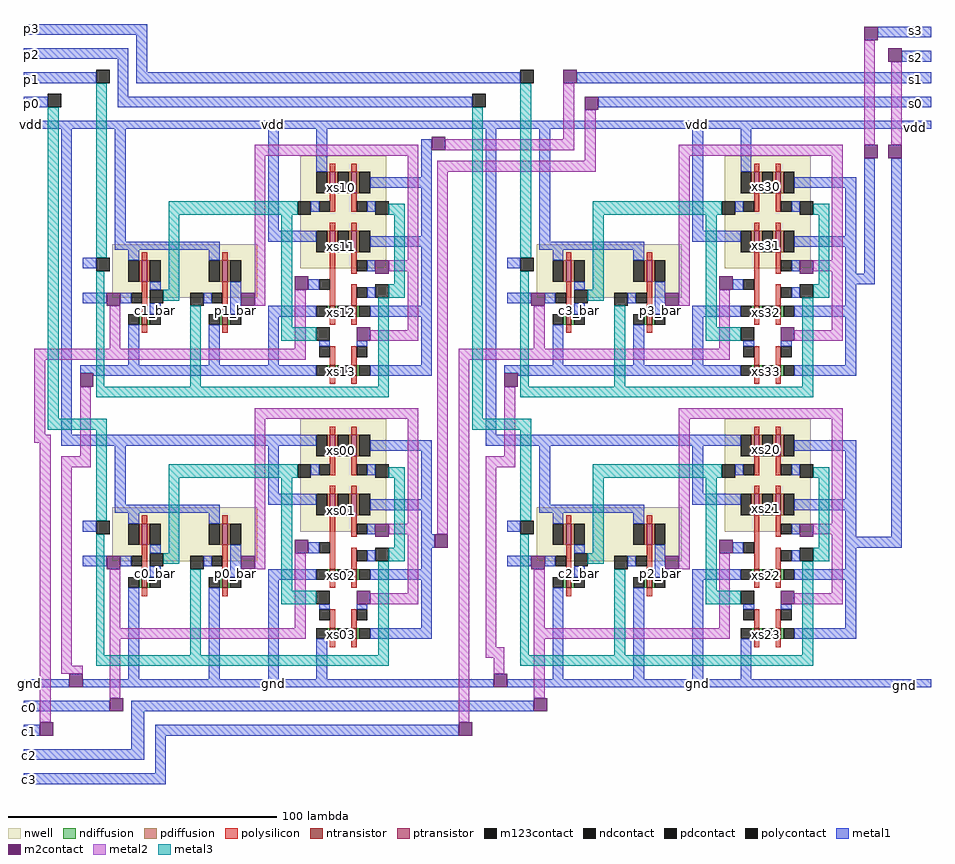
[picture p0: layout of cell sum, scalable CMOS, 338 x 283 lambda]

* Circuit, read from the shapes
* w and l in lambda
.subckt sum c0 c0_bar c1 c1_bar c2 c2_bar c3 c3_bar gnd p0 p0_bar p1 p1_bar p2 p2_bar p3 p3_bar s0 s1 s2 s3 vdd xs00 xs01 xs02 xs03 xs10 xs11 xs12 xs13 xs20 xs21 xs22 xs23 xs30 xs31 xs32 xs33
M1 c0_bar c0 gnd VSUBS nfet w=4 l=2
M2 c1_bar c1 gnd VSUBS nfet w=4 l=2
M3 p0_bar p0 gnd VSUBS nfet w=4 l=2
M4 p1_bar p1 gnd VSUBS nfet w=4 l=2
M5 xs03 c0_bar gnd VSUBS nfet w=4 l=2
M6 xs02 c0 gnd VSUBS nfet w=4 l=2
M7 xs13 c1_bar gnd VSUBS nfet w=4 l=2
M8 xs12 c1 gnd VSUBS nfet w=4 l=2
M9 s0 p0_bar xs03 VSUBS nfet w=4 l=2
M10 s0 p0 xs02 VSUBS nfet w=4 l=2
M11 s1 p1_bar xs13 VSUBS nfet w=4 l=2
M12 s1 p1 xs12 VSUBS nfet w=4 l=2
M13 c2_bar c2 gnd VSUBS nfet w=4 l=2
M14 c3_bar c3 gnd VSUBS nfet w=4 l=2
M15 p2_bar p2 gnd VSUBS nfet w=4 l=2
M16 p3_bar p3 gnd VSUBS nfet w=4 l=2
M17 xs23 c2_bar gnd VSUBS nfet w=4 l=2
M18 xs22 c2 gnd VSUBS nfet w=4 l=2
M19 xs33 c3_bar gnd VSUBS nfet w=4 l=2
M20 xs32 c3 gnd VSUBS nfet w=4 l=2
M21 s2 p2_bar xs23 VSUBS nfet w=4 l=2
M22 s2 p2 xs22 VSUBS nfet w=4 l=2
M23 s3 p3_bar xs33 VSUBS nfet w=4 l=2
M24 s3 p3 xs32 VSUBS nfet w=4 l=2
M25 c0_bar c0 vdd n1 pfet w=8 l=2
M26 c1_bar c1 vdd n2 pfet w=8 l=2
M27 p0_bar p0 vdd n1 pfet w=8 l=2
M28 p1_bar p1 vdd n2 pfet w=8 l=2
M29 xs01 c0 vdd n3 pfet w=8 l=2
M30 xs00 c0_bar vdd n3 pfet w=8 l=2
M31 xs11 c1 vdd n4 pfet w=8 l=2
M32 xs10 c1_bar vdd n4 pfet w=8 l=2
M33 s0 p0_bar xs01 n3 pfet w=8 l=2
M34 s0 p0 xs00 n3 pfet w=8 l=2
M35 s1 p1_bar xs11 n4 pfet w=8 l=2
M36 s1 p1 xs10 n4 pfet w=8 l=2
M37 c2_bar c2 vdd n5 pfet w=8 l=2
M38 c3_bar c3 vdd n6 pfet w=8 l=2
M39 p2_bar p2 vdd n5 pfet w=8 l=2
M40 p3_bar p3 vdd n6 pfet w=8 l=2
M41 xs21 c2 vdd n7 pfet w=8 l=2
M42 xs20 c2_bar vdd n7 pfet w=8 l=2
M43 xs31 c3 vdd n8 pfet w=8 l=2
M44 xs30 c3_bar vdd n8 pfet w=8 l=2
M45 s2 p2_bar xs21 n7 pfet w=8 l=2
M46 s2 p2 xs20 n7 pfet w=8 l=2
M47 s3 p3_bar xs31 n8 pfet w=8 l=2
M48 s3 p3 xs30 n8 pfet w=8 l=2
.ends

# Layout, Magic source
magic
tech scmos
<< nwell >>
rect -58 -60 -4 -40
rect 12 -49 44 -7
rect 100 -60 154 -40
rect 170 -49 202 -7
rect -58 -158 -4 -138
rect 12 -147 44 -105
rect 100 -158 154 -138
rect 170 -147 202 -105
<< ntransistor >>
rect -47 -70 -45 -66
rect -17 -70 -15 -66
rect 23 -67 25 -63
rect 31 -67 33 -63
rect 111 -70 113 -66
rect 141 -70 143 -66
rect 181 -67 183 -63
rect 189 -67 191 -63
rect 23 -89 25 -85
rect 31 -89 33 -85
rect 181 -89 183 -85
rect 189 -89 191 -85
rect -47 -168 -45 -164
rect -17 -168 -15 -164
rect 23 -165 25 -161
rect 31 -165 33 -161
rect 111 -168 113 -164
rect 141 -168 143 -164
rect 181 -165 183 -161
rect 189 -165 191 -161
rect 23 -187 25 -183
rect 31 -187 33 -183
rect 181 -187 183 -183
rect 189 -187 191 -183
<< ptransistor >>
rect 23 -21 25 -13
rect 31 -21 33 -13
rect 181 -21 183 -13
rect 189 -21 191 -13
rect 23 -43 25 -35
rect 31 -43 33 -35
rect 181 -43 183 -35
rect 189 -43 191 -35
rect -47 -54 -45 -46
rect -17 -54 -15 -46
rect 111 -54 113 -46
rect 141 -54 143 -46
rect 23 -119 25 -111
rect 31 -119 33 -111
rect 181 -119 183 -111
rect 189 -119 191 -111
rect 23 -141 25 -133
rect 31 -141 33 -133
rect 181 -141 183 -133
rect 189 -141 191 -133
rect -47 -152 -45 -144
rect -17 -152 -15 -144
rect 111 -152 113 -144
rect 141 -152 143 -144
<< ndiffusion >>
rect -48 -70 -47 -66
rect -45 -70 -44 -66
rect -18 -70 -17 -66
rect -15 -70 -14 -66
rect 22 -67 23 -63
rect 25 -67 26 -63
rect 30 -67 31 -63
rect 33 -67 34 -63
rect 110 -70 111 -66
rect 113 -70 114 -66
rect 140 -70 141 -66
rect 143 -70 144 -66
rect 180 -67 181 -63
rect 183 -67 184 -63
rect 188 -67 189 -63
rect 191 -67 192 -63
rect 22 -89 23 -85
rect 25 -89 26 -85
rect 30 -89 31 -85
rect 33 -89 34 -85
rect 180 -89 181 -85
rect 183 -89 184 -85
rect 188 -89 189 -85
rect 191 -89 192 -85
rect -48 -168 -47 -164
rect -45 -168 -44 -164
rect -18 -168 -17 -164
rect -15 -168 -14 -164
rect 22 -165 23 -161
rect 25 -165 26 -161
rect 30 -165 31 -161
rect 33 -165 34 -161
rect 110 -168 111 -164
rect 113 -168 114 -164
rect 140 -168 141 -164
rect 143 -168 144 -164
rect 180 -165 181 -161
rect 183 -165 184 -161
rect 188 -165 189 -161
rect 191 -165 192 -161
rect 22 -187 23 -183
rect 25 -187 26 -183
rect 30 -187 31 -183
rect 33 -187 34 -183
rect 180 -187 181 -183
rect 183 -187 184 -183
rect 188 -187 189 -183
rect 191 -187 192 -183
<< pdiffusion >>
rect 22 -21 23 -13
rect 25 -21 26 -13
rect 30 -21 31 -13
rect 33 -21 34 -13
rect 180 -21 181 -13
rect 183 -21 184 -13
rect 188 -21 189 -13
rect 191 -21 192 -13
rect 22 -43 23 -35
rect 25 -43 26 -35
rect 30 -43 31 -35
rect 33 -43 34 -35
rect 180 -43 181 -35
rect 183 -43 184 -35
rect 188 -43 189 -35
rect 191 -43 192 -35
rect -48 -54 -47 -46
rect -45 -54 -44 -46
rect -18 -54 -17 -46
rect -15 -54 -14 -46
rect 110 -54 111 -46
rect 113 -54 114 -46
rect 140 -54 141 -46
rect 143 -54 144 -46
rect 22 -119 23 -111
rect 25 -119 26 -111
rect 30 -119 31 -111
rect 33 -119 34 -111
rect 180 -119 181 -111
rect 183 -119 184 -111
rect 188 -119 189 -111
rect 191 -119 192 -111
rect 22 -141 23 -133
rect 25 -141 26 -133
rect 30 -141 31 -133
rect 33 -141 34 -133
rect 180 -141 181 -133
rect 183 -141 184 -133
rect 188 -141 189 -133
rect 191 -141 192 -133
rect -48 -152 -47 -144
rect -45 -152 -44 -144
rect -18 -152 -17 -144
rect -15 -152 -14 -144
rect 110 -152 111 -144
rect 113 -152 114 -144
rect 140 -152 141 -144
rect 143 -152 144 -144
<< ndcontact >>
rect -52 -70 -48 -66
rect -44 -70 -40 -66
rect -22 -70 -18 -66
rect -14 -70 -10 -66
rect 18 -67 22 -63
rect 26 -67 30 -63
rect 34 -67 38 -63
rect 106 -70 110 -66
rect 114 -70 118 -66
rect 136 -70 140 -66
rect 144 -70 148 -66
rect 176 -67 180 -63
rect 184 -67 188 -63
rect 192 -67 196 -63
rect 18 -89 22 -85
rect 26 -89 30 -85
rect 34 -89 38 -85
rect 176 -89 180 -85
rect 184 -89 188 -85
rect 192 -89 196 -85
rect -52 -168 -48 -164
rect -44 -168 -40 -164
rect -22 -168 -18 -164
rect -14 -168 -10 -164
rect 18 -165 22 -161
rect 26 -165 30 -161
rect 34 -165 38 -161
rect 106 -168 110 -164
rect 114 -168 118 -164
rect 136 -168 140 -164
rect 144 -168 148 -164
rect 176 -165 180 -161
rect 184 -165 188 -161
rect 192 -165 196 -161
rect 18 -187 22 -183
rect 26 -187 30 -183
rect 34 -187 38 -183
rect 176 -187 180 -183
rect 184 -187 188 -183
rect 192 -187 196 -183
<< pdcontact >>
rect 18 -21 22 -13
rect 26 -21 30 -13
rect 34 -21 38 -13
rect 176 -21 180 -13
rect 184 -21 188 -13
rect 192 -21 196 -13
rect 18 -43 22 -35
rect 26 -43 30 -35
rect 34 -43 38 -35
rect 176 -43 180 -35
rect 184 -43 188 -35
rect 192 -43 196 -35
rect -52 -54 -48 -46
rect -44 -54 -40 -46
rect -22 -54 -18 -46
rect -14 -54 -10 -46
rect 106 -54 110 -46
rect 114 -54 118 -46
rect 136 -54 140 -46
rect 144 -54 148 -46
rect 18 -119 22 -111
rect 26 -119 30 -111
rect 34 -119 38 -111
rect 176 -119 180 -111
rect 184 -119 188 -111
rect 192 -119 196 -111
rect 18 -141 22 -133
rect 26 -141 30 -133
rect 34 -141 38 -133
rect 176 -141 180 -133
rect 184 -141 188 -133
rect 192 -141 196 -133
rect -52 -152 -48 -144
rect -44 -152 -40 -144
rect -22 -152 -18 -144
rect -14 -152 -10 -144
rect 106 -152 110 -144
rect 114 -152 118 -144
rect 136 -152 140 -144
rect 144 -152 148 -144
<< polysilicon >>
rect 23 -13 25 -10
rect 31 -13 33 -10
rect 181 -13 183 -10
rect 189 -13 191 -10
rect 23 -28 25 -21
rect 31 -28 33 -21
rect 181 -28 183 -21
rect 189 -28 191 -21
rect 23 -35 25 -32
rect 31 -35 33 -32
rect 181 -35 183 -32
rect 189 -35 191 -32
rect -47 -46 -45 -43
rect -17 -46 -15 -43
rect -47 -66 -45 -54
rect -17 -66 -15 -54
rect 23 -63 25 -43
rect 31 -51 33 -43
rect 111 -46 113 -43
rect 141 -46 143 -43
rect 31 -63 33 -55
rect 111 -66 113 -54
rect 141 -66 143 -54
rect 181 -63 183 -43
rect 189 -51 191 -43
rect 189 -63 191 -55
rect 23 -70 25 -67
rect 31 -70 33 -67
rect 181 -70 183 -67
rect 189 -70 191 -67
rect -47 -73 -45 -70
rect -17 -73 -15 -70
rect 111 -73 113 -70
rect 141 -73 143 -70
rect 23 -85 25 -78
rect 31 -85 33 -78
rect 181 -85 183 -78
rect 189 -85 191 -78
rect 23 -92 25 -89
rect 31 -92 33 -89
rect 181 -92 183 -89
rect 189 -92 191 -89
rect 23 -111 25 -108
rect 31 -111 33 -108
rect 181 -111 183 -108
rect 189 -111 191 -108
rect 23 -126 25 -119
rect 31 -126 33 -119
rect 181 -126 183 -119
rect 189 -126 191 -119
rect 23 -133 25 -130
rect 31 -133 33 -130
rect 181 -133 183 -130
rect 189 -133 191 -130
rect -47 -144 -45 -141
rect -17 -144 -15 -141
rect -47 -164 -45 -152
rect -17 -164 -15 -152
rect 23 -161 25 -141
rect 31 -149 33 -141
rect 111 -144 113 -141
rect 141 -144 143 -141
rect 31 -161 33 -153
rect 111 -164 113 -152
rect 141 -164 143 -152
rect 181 -161 183 -141
rect 189 -149 191 -141
rect 189 -161 191 -153
rect 23 -168 25 -165
rect 31 -168 33 -165
rect 181 -168 183 -165
rect 189 -168 191 -165
rect -47 -171 -45 -168
rect -17 -171 -15 -168
rect 111 -171 113 -168
rect 141 -171 143 -168
rect 23 -183 25 -176
rect 31 -183 33 -176
rect 181 -183 183 -176
rect 189 -183 191 -176
rect 23 -190 25 -187
rect 31 -190 33 -187
rect 181 -190 183 -187
rect 189 -190 191 -187
<< polycontact >>
rect 19 -28 23 -24
rect 33 -28 37 -24
rect 177 -28 181 -24
rect 191 -28 195 -24
rect -51 -62 -47 -58
rect -21 -62 -17 -58
rect 19 -57 23 -53
rect 33 -50 37 -46
rect 33 -60 37 -56
rect 107 -62 111 -58
rect 137 -62 141 -58
rect 177 -57 181 -53
rect 191 -50 195 -46
rect 191 -60 195 -56
rect 19 -82 23 -78
rect 33 -82 37 -78
rect 177 -82 181 -78
rect 191 -82 195 -78
rect 19 -126 23 -122
rect 33 -126 37 -122
rect 177 -126 181 -122
rect 191 -126 195 -122
rect -51 -160 -47 -156
rect -21 -160 -17 -156
rect 19 -155 23 -151
rect 33 -148 37 -144
rect 33 -158 37 -154
rect 107 -160 111 -156
rect 137 -160 141 -156
rect 177 -155 181 -151
rect 191 -148 195 -144
rect 191 -158 195 -154
rect 19 -180 23 -176
rect 33 -180 37 -176
rect 177 -180 181 -176
rect 191 -180 195 -176
<< metal1 >>
rect -91 38 -45 42
rect -91 29 -52 33
rect -91 20 -64 24
rect -91 11 -82 15
rect -56 15 -52 29
rect -49 24 -45 38
rect 227 37 247 41
rect 236 28 247 32
rect -49 20 94 24
rect 115 20 247 24
rect -56 11 76 15
rect 123 11 247 15
rect -91 3 247 6
rect -77 -111 -73 3
rect -57 -39 -53 3
rect 0 -35 4 3
rect 18 -13 22 3
rect 57 -15 61 -1
rect 38 -19 61 -15
rect 16 -28 19 -24
rect 37 -28 40 -24
rect 0 -39 18 -35
rect -57 -42 -18 -39
rect -69 -49 -64 -45
rect -52 -46 -48 -42
rect -22 -46 -18 -42
rect 57 -37 61 -19
rect 38 -41 61 -37
rect 37 -50 40 -46
rect -44 -57 -40 -54
rect -69 -62 -60 -58
rect -55 -62 -51 -58
rect -44 -66 -40 -62
rect -24 -62 -21 -58
rect -14 -66 -10 -54
rect 15 -57 19 -53
rect 37 -60 40 -56
rect 57 -63 61 -41
rect 0 -67 18 -63
rect 38 -67 61 -63
rect -52 -85 -48 -70
rect -22 -85 -18 -70
rect 0 -85 4 -67
rect 19 -78 23 -76
rect 33 -78 37 -76
rect 57 -85 61 -67
rect -70 -88 18 -85
rect -65 -89 18 -88
rect 38 -89 61 -85
rect 81 -111 85 3
rect 101 -39 105 3
rect 158 -35 162 3
rect 176 -13 180 3
rect 196 -19 219 -15
rect 174 -28 177 -24
rect 195 -28 198 -24
rect 158 -39 176 -35
rect 101 -42 140 -39
rect 89 -49 94 -45
rect 106 -46 110 -42
rect 136 -46 140 -42
rect 215 -37 219 -19
rect 196 -41 219 -37
rect 195 -50 198 -46
rect 215 -51 219 -41
rect 222 -51 226 -8
rect 114 -57 118 -54
rect 89 -62 98 -58
rect 103 -62 107 -58
rect 114 -66 118 -62
rect 134 -62 137 -58
rect 144 -66 148 -54
rect 173 -57 177 -53
rect 215 -55 226 -51
rect 195 -60 198 -56
rect 215 -63 219 -55
rect 158 -67 176 -63
rect 196 -67 219 -63
rect 106 -85 110 -70
rect 136 -85 140 -70
rect 158 -85 162 -67
rect 177 -78 181 -76
rect 191 -78 195 -76
rect 215 -85 219 -67
rect 88 -88 176 -85
rect 93 -89 176 -88
rect 196 -89 219 -85
rect -77 -115 18 -111
rect -57 -137 -53 -115
rect 0 -133 4 -115
rect 38 -117 61 -113
rect 81 -115 176 -111
rect 16 -126 19 -122
rect 37 -126 40 -122
rect 0 -137 18 -133
rect -57 -140 -18 -137
rect -69 -147 -64 -143
rect -52 -144 -48 -140
rect -22 -144 -18 -140
rect 57 -135 61 -117
rect 38 -139 61 -135
rect 37 -148 40 -144
rect 57 -148 61 -139
rect 101 -137 105 -115
rect 158 -133 162 -115
rect 196 -117 219 -113
rect 174 -126 177 -122
rect 195 -126 198 -122
rect 158 -137 176 -133
rect 101 -140 140 -137
rect 89 -147 94 -143
rect 106 -144 110 -140
rect 136 -144 140 -140
rect 215 -135 219 -117
rect 196 -139 219 -135
rect -44 -155 -40 -152
rect -69 -160 -60 -156
rect -55 -160 -51 -156
rect -44 -164 -40 -160
rect -24 -160 -21 -156
rect -14 -164 -10 -152
rect 15 -155 19 -151
rect 57 -153 62 -148
rect 195 -148 198 -144
rect 215 -149 219 -139
rect 232 -149 236 -8
rect 37 -158 40 -154
rect 57 -161 61 -153
rect 114 -155 118 -152
rect 89 -160 98 -156
rect 103 -160 107 -156
rect 0 -165 18 -161
rect 38 -165 61 -161
rect 114 -164 118 -160
rect 134 -160 137 -156
rect 144 -164 148 -152
rect 173 -155 177 -151
rect 215 -153 236 -149
rect 195 -158 198 -154
rect 215 -161 219 -153
rect -91 -205 -74 -202
rect -52 -202 -48 -168
rect -22 -202 -18 -168
rect 0 -202 4 -165
rect 19 -176 23 -174
rect 33 -176 37 -174
rect 57 -183 61 -165
rect 38 -187 61 -183
rect 158 -165 176 -161
rect 196 -165 219 -161
rect 18 -202 22 -187
rect -69 -205 84 -202
rect 106 -202 110 -168
rect 136 -202 140 -168
rect 158 -202 162 -165
rect 177 -176 181 -174
rect 191 -176 195 -174
rect 215 -183 219 -165
rect 196 -187 219 -183
rect 176 -202 180 -187
rect 89 -205 247 -202
rect -91 -214 -59 -210
rect -51 -214 99 -210
rect -91 -223 -85 -219
rect -51 -228 -46 -214
rect -91 -232 -46 -228
rect -42 -223 71 -219
rect -42 -237 -38 -223
rect -91 -241 -38 -237
<< m2contact >>
rect 222 36 227 41
rect 231 28 236 33
rect 110 20 115 25
rect 118 10 123 15
rect 61 -5 66 0
rect 40 -51 45 -46
rect -60 -63 -55 -58
rect 10 -57 15 -52
rect -10 -63 -5 -58
rect 33 -76 38 -71
rect -70 -93 -65 -88
rect 222 -8 227 -3
rect 231 -8 236 -3
rect 198 -51 203 -46
rect 98 -63 103 -58
rect 168 -57 173 -52
rect 148 -63 153 -58
rect 191 -76 196 -71
rect 88 -93 93 -88
rect 40 -149 45 -144
rect -60 -161 -55 -156
rect 10 -155 15 -150
rect 62 -153 67 -148
rect 198 -149 203 -144
rect -10 -161 -5 -156
rect 98 -161 103 -156
rect 168 -155 173 -150
rect 148 -161 153 -156
rect -74 -205 -69 -200
rect 33 -174 38 -169
rect 84 -205 89 -200
rect 191 -174 196 -169
rect -59 -214 -54 -209
rect 99 -214 104 -209
rect -85 -223 -80 -218
rect 71 -223 76 -218
<< metal2 >>
rect -5 -7 56 -3
rect 110 -1 114 20
rect 66 -5 114 -1
rect -5 -63 -1 -7
rect 52 -46 56 -7
rect 118 -9 122 10
rect 222 -3 226 36
rect 232 -3 236 28
rect 45 -50 56 -46
rect -59 -79 -55 -63
rect 10 -79 14 -57
rect 52 -72 56 -50
rect 38 -76 56 -72
rect 63 -13 122 -9
rect 153 -7 214 -3
rect -87 -83 14 -79
rect -87 -111 -83 -83
rect -87 -114 -81 -111
rect -85 -218 -81 -114
rect -70 -119 -66 -93
rect -77 -123 -66 -119
rect -5 -105 56 -101
rect -77 -197 -73 -123
rect -5 -161 -1 -105
rect 52 -144 56 -105
rect 45 -148 56 -144
rect 63 -148 67 -13
rect 153 -63 157 -7
rect 210 -46 214 -7
rect 203 -50 214 -46
rect 99 -79 103 -63
rect 168 -79 172 -57
rect 210 -72 214 -50
rect 196 -76 214 -72
rect -59 -183 -55 -161
rect 10 -183 14 -155
rect 52 -170 56 -148
rect 71 -83 172 -79
rect 38 -174 56 -170
rect -59 -187 14 -183
rect -77 -200 -69 -197
rect -59 -209 -55 -187
rect 71 -218 75 -83
rect 88 -119 92 -93
rect 81 -123 92 -119
rect 153 -105 214 -101
rect 81 -190 85 -123
rect 153 -161 157 -105
rect 210 -144 214 -105
rect 203 -148 214 -144
rect 99 -183 103 -161
rect 168 -183 172 -155
rect 210 -170 214 -148
rect 196 -174 214 -170
rect 99 -187 172 -183
rect 81 -194 88 -190
rect 84 -200 88 -194
rect 99 -209 103 -187
<< m123contact >>
rect -64 20 -59 25
rect 94 20 99 25
rect -82 11 -77 16
rect 76 11 81 16
rect -64 -50 -59 -45
rect -44 -62 -39 -57
rect -29 -63 -24 -58
rect 11 -29 16 -24
rect 40 -29 45 -24
rect 40 -60 45 -55
rect 18 -76 23 -71
rect -64 -148 -59 -143
rect -44 -160 -39 -155
rect -29 -161 -24 -156
rect 11 -127 16 -122
rect 40 -127 45 -122
rect 94 -50 99 -45
rect 114 -62 119 -57
rect 129 -63 134 -58
rect 169 -29 174 -24
rect 198 -29 203 -24
rect 198 -60 203 -55
rect 176 -76 181 -71
rect 40 -158 45 -153
rect 18 -174 23 -169
rect 94 -148 99 -143
rect 114 -160 119 -155
rect 129 -161 134 -156
rect 169 -127 174 -122
rect 198 -127 203 -122
rect 198 -158 203 -153
rect 176 -174 181 -169
<< metal3 >>
rect -82 -105 -78 11
rect -64 -45 -60 20
rect -37 -29 11 -24
rect 45 -29 51 -25
rect -64 -93 -61 -50
rect -37 -57 -33 -29
rect -39 -61 -33 -57
rect -29 -93 -25 -63
rect 5 -71 9 -29
rect 47 -55 51 -29
rect 45 -60 51 -55
rect 5 -76 18 -71
rect 41 -93 45 -60
rect -64 -97 45 -93
rect 76 -105 80 11
rect 94 -45 98 20
rect 121 -29 169 -24
rect 203 -29 209 -25
rect 94 -93 97 -50
rect 121 -57 125 -29
rect 119 -61 125 -57
rect 129 -93 133 -63
rect 163 -71 167 -29
rect 205 -55 209 -29
rect 203 -60 209 -55
rect 163 -76 176 -71
rect 199 -93 203 -60
rect 94 -97 203 -93
rect -82 -109 -60 -105
rect 76 -109 98 -105
rect -64 -143 -60 -109
rect -37 -127 11 -122
rect 45 -127 51 -123
rect -64 -193 -61 -148
rect -37 -155 -33 -127
rect -39 -159 -33 -155
rect -29 -193 -25 -161
rect 5 -169 9 -127
rect 47 -153 51 -127
rect 45 -158 51 -153
rect 94 -143 98 -109
rect 121 -127 169 -122
rect 203 -127 209 -123
rect 5 -174 18 -169
rect 41 -193 45 -158
rect -64 -197 45 -193
rect 94 -193 97 -148
rect 121 -155 125 -127
rect 119 -159 125 -155
rect 129 -193 133 -161
rect 163 -169 167 -127
rect 205 -153 209 -127
rect 203 -158 209 -153
rect 163 -174 176 -169
rect 199 -193 203 -158
rect 94 -197 203 -193
<< labels >>
rlabel metal1 1 -204 3 -203 1 gnd
rlabel metal1 -90 -204 -88 -203 3 gnd
rlabel metal1 236 -205 238 -204 1 gnd
rlabel metal1 159 -204 161 -203 1 gnd
rlabel metal1 159 4 161 5 5 vdd
rlabel metal1 240 3 242 4 1 vdd
rlabel metal1 -89 4 -87 5 3 vdd
rlabel metal1 1 4 3 5 5 vdd
rlabel pdcontact 27 -118 28 -116 1 xs00
rlabel pdcontact 27 -140 28 -138 1 xs01
rlabel ndcontact 27 -164 28 -163 1 xs02
rlabel ndcontact 27 -186 28 -185 1 xs03
rlabel metal1 -89 12 -87 13 3 p0
rlabel metal1 -89 21 -87 22 3 p1
rlabel metal1 -89 30 -87 31 3 p2
rlabel metal1 -89 40 -87 41 4 p3
rlabel metal1 -90 -213 -88 -212 3 c0
rlabel metal1 -90 -222 -88 -221 3 c1
rlabel metal1 -90 -231 -88 -230 3 c2
rlabel metal1 -90 -240 -88 -239 2 c3
rlabel metal1 -43 -163 -41 -162 1 c0_bar
rlabel metal1 -13 -163 -11 -162 1 p0_bar
rlabel metal1 -43 -65 -41 -64 1 c1_bar
rlabel metal1 -13 -65 -11 -64 1 p1_bar
rlabel metal1 115 -163 117 -162 1 c2_bar
rlabel metal1 145 -163 147 -162 1 p2_bar
rlabel metal1 115 -65 117 -64 1 c3_bar
rlabel metal1 145 -65 147 -64 1 p3_bar
rlabel pdcontact 27 -20 28 -18 1 xs10
rlabel pdcontact 27 -42 28 -40 1 xs11
rlabel ndcontact 27 -66 28 -65 1 xs12
rlabel ndcontact 27 -88 28 -87 1 xs13
rlabel pdcontact 185 -117 186 -116 1 xs20
rlabel pdcontact 185 -139 186 -138 1 xs21
rlabel ndcontact 185 -164 186 -163 1 xs22
rlabel ndcontact 185 -186 186 -185 1 xs23
rlabel pdcontact 185 -19 186 -18 1 xs30
rlabel pdcontact 185 -41 186 -40 1 xs31
rlabel ndcontact 185 -66 186 -65 1 xs32
rlabel ndcontact 185 -88 186 -87 1 xs33
rlabel metal1 240 12 242 13 1 s0
rlabel metal1 240 21 242 22 1 s1
rlabel metal1 240 29 242 30 1 s2
rlabel metal1 240 39 242 40 5 s3
<< end >>
